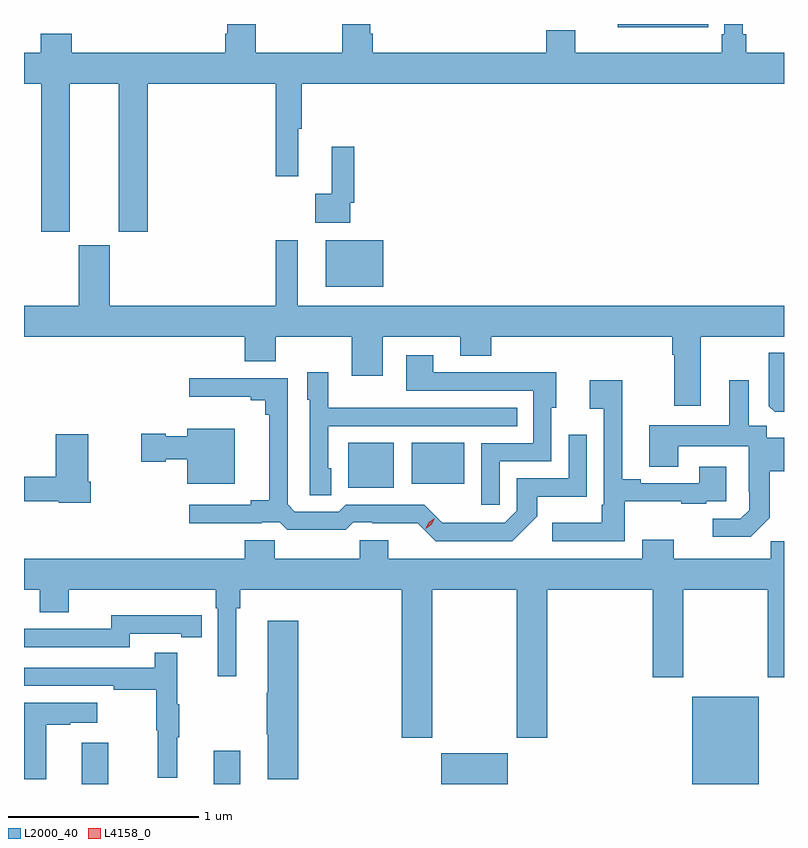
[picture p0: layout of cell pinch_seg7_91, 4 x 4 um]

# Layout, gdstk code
import gdstk
lib = gdstk.Library(unit=1e-6, precision=1e-09)
def R(c, l, rs):  # rectangles x0, y0, x1, y1
    for r in rs: c.add(gdstk.rectangle(r[:2], r[2:], *l))
def P(c, l, *ps):  # polygons
    for p in ps: c.add(gdstk.Polygon(p, *l))
L2000_40 = (2000, 40)
L4158_0 = (4158, 0)

pinch_seg7_91 = lib.new_cell('pinch_seg7_91')
R(pinch_seg7_91, L2000_40, [(892.295,1011.582,892.435,1011.799), (892.991,1011.582,893.131,1011.757), (894.188,1011.582,894.538,1011.745), (895.508,1011.582,895.858,1012.042), (893.699,1013.141,893.938,1013.377), (894.032,1013.162,894.31,1013.377), (893.579,1014.2,893.884,1014.445)])
P(pinch_seg7_91, L2000_40, [(895.484,1015.566),(895.592,1015.566),(895.592,1015.582),(895.116,1015.582),(895.116,1015.565),(895.484,1015.565)],
  [(892.234,1015.268),(892.49,1015.268),(892.49,1014.489),(892.643,1014.489),(892.643,1015.268),(893.317,1015.268),(893.317,1014.78),(893.435,1014.78),(893.435,1015.032),(893.453,1015.032),(893.453,1015.268),(895.992,1015.268),(895.992,1015.432),(895.793,1015.432),(895.793,1015.528),(895.774,1015.528),(895.774,1015.582),(895.677,1015.582),(895.677,1015.528),(895.664,1015.528),(895.664,1015.432),(894.892,1015.432),(894.892,1015.549),(894.74,1015.549),(894.74,1015.432),(893.828,1015.432),(893.828,1015.53),(893.815,1015.53),(893.815,1015.582),(893.668,1015.582),(893.668,1015.432),(893.211,1015.432),(893.211,1015.582),(893.063,1015.582),(893.063,1015.53),(893.051,1015.53),(893.051,1015.432),(892.244,1015.432),(892.244,1015.531),(892.079,1015.531),(892.079,1015.432),(891.992,1015.432),(891.992,1015.268),(892.082,1015.268),(892.082,1014.489),(892.234,1014.489)],
  [(893.709,1014.64),(893.729,1014.64),(893.729,1014.937),(893.612,1014.937),(893.612,1014.689),(893.526,1014.689),(893.526,1014.536),(893.709,1014.536)],
  [(895.555,1013.936),(895.992,1013.936),(895.992,1014.1),(893.434,1014.1),(893.434,1014.445),(893.317,1014.445),(893.317,1014.1),(892.444,1014.1),(892.444,1014.417),(892.28,1014.417),(892.28,1014.1),(891.992,1014.1),(891.992,1013.936),(893.153,1013.936),(893.153,1013.808),(893.317,1013.808),(893.317,1013.936),(893.717,1013.936),(893.717,1013.73),(893.881,1013.73),(893.881,1013.936),(894.287,1013.936),(894.287,1013.837),(894.451,1013.837),(894.451,1013.936),(895.403,1013.936),(895.403,1013.84),(895.415,1013.84),(895.415,1013.574),(895.555,1013.574)],
  [(895.992,1013.851),(895.911,1013.851),(895.911,1013.571),(895.943,1013.54),(895.992,1013.54)],
  [(894.495,1013.28),(894.768,1013.28),(894.768,1013.562),(894.793,1013.562),(894.793,1013.75),(894.575,1013.75),(894.575,1013.748),(894.145,1013.748),(894.145,1013.839),(894.005,1013.839),(894.005,1013.652),(894.672,1013.652),(894.672,1013.376),(894.399,1013.376),(894.399,1013.052),(894.495,1013.052)],
  [(893.608,1013.244),(893.592,1013.244),(893.592,1013.466),(894.587,1013.466),(894.587,1013.562),(893.909,1013.562),(893.909,1013.563),(893.592,1013.563),(893.592,1013.749),(893.483,1013.749),(893.483,1013.604),(893.496,1013.604),(893.496,1013.101),(893.608,1013.101)],
  [(894.693,1012.991),(894.693,1013.093),(894.954,1013.093),(894.954,1013.419),(894.858,1013.419),(894.858,1013.19),(894.585,1013.19),(894.585,1013.019),(894.522,1012.956),(894.298,1012.956),(894.298,1012.958),(894.194,1012.958),(894.099,1013.052),(893.685,1013.052),(893.649,1013.016),(893.418,1013.016),(893.379,1013.055),(893.379,1013.718),(892.863,1013.718),(892.863,1013.621),(893.186,1013.621),(893.186,1013.602),(893.263,1013.602),(893.263,1013.525),(893.282,1013.525),(893.282,1013.075),(893.186,1013.075),(893.186,1013.052),(892.863,1013.052),(892.863,1012.955),(893.243,1012.955),(893.243,1012.959),(893.337,1012.959),(893.377,1012.92),(893.685,1012.92),(893.724,1012.959),(893.824,1012.959),(893.824,1012.955),(894.065,1012.955),(894.159,1012.86),(894.562,1012.86)],
  [(895.153,1013.069),(895.451,1013.069),(895.451,1013.058),(895.583,1013.058),(895.583,1013.07),(895.687,1013.07),(895.687,1013.251),(895.547,1013.251),(895.547,1013.166),(895.237,1013.166),(895.237,1013.185),(895.141,1013.185),(895.141,1013.707),(894.969,1013.707),(894.969,1013.558),(895.044,1013.558),(895.044,1013.053),(895.032,1013.053),(895.032,1012.957),(894.771,1012.957),(894.771,1012.86),(895.153,1012.86)],
  [(895.917,1012.983),(895.917,1013.229),(895.992,1013.229),(895.992,1013.404),(895.902,1013.404),(895.902,1013.468),(895.807,1013.468),(895.807,1013.707),(895.703,1013.707),(895.703,1013.47),(895.283,1013.47),(895.283,1013.251),(895.435,1013.251),(895.435,1013.36),(895.806,1013.36),(895.806,1013.119),(895.808,1013.119),(895.808,1013.024),(895.761,1012.977),(895.617,1012.977),(895.617,1012.883),(895.817,1012.883)],
  [(893.101,1013.452),(892.85,1013.452),(892.85,1013.413),(892.737,1013.413),(892.737,1013.426),(892.608,1013.426),(892.608,1013.279),(892.737,1013.279),(892.737,1013.291),(892.85,1013.291),(892.85,1013.162),(893.101,1013.162)],
  [(892.343,1013.173),(892.33,1013.173),(892.33,1013.422),(892.16,1013.422),(892.16,1013.198),(891.992,1013.198),(891.992,1013.07),(892.176,1013.07),(892.176,1013.062),(892.343,1013.062)],
  [(894.141,1012.604),(894.586,1012.604),(894.586,1011.825),(894.746,1011.825),(894.746,1012.604),(895.301,1012.604),(895.301,1012.143),(895.461,1012.143),(895.461,1012.604),(895.906,1012.604),(895.906,1012.143),(895.992,1012.143),(895.992,1012.859),(895.921,1012.859),(895.921,1012.768),(895.411,1012.768),(895.411,1012.867),(895.247,1012.867),(895.247,1012.768),(893.908,1012.768),(893.908,1012.866),(893.758,1012.866),(893.758,1012.768),(893.313,1012.768),(893.313,1012.866),(893.153,1012.866),(893.153,1012.768),(891.992,1012.768),(891.992,1012.604),(892.076,1012.604),(892.076,1012.487),(892.228,1012.487),(892.228,1012.604),(893,1012.604),(893,1012.508),(893.013,1012.508),(893.013,1012.149),(893.11,1012.149),(893.11,1012.508),(893.129,1012.508),(893.129,1012.604),(893.981,1012.604),(893.981,1011.825),(894.141,1011.825)],
  [(892.548,1012.374),(892.82,1012.374),(892.82,1012.354),(892.928,1012.354),(892.928,1012.47),(892.82,1012.47),(892.82,1012.471),(892.452,1012.471),(892.452,1012.398),(891.992,1012.398),(891.992,1012.302),(892.548,1012.302)],
  [(893.435,1012.441),(893.276,1012.441),(893.276,1012.061),(893.269,1012.061),(893.269,1011.844),(893.276,1011.844),(893.276,1011.606),(893.435,1011.606)],
  [(892.799,1011.827),(892.81,1011.827),(892.81,1012.001),(892.799,1012.001),(892.799,1012.273),(892.681,1012.273),(892.681,1012.194),(891.992,1012.194),(891.992,1012.098),(892.465,1012.098),(892.465,1012.078),(892.689,1012.078),(892.689,1011.864),(892.696,1011.864),(892.696,1011.615),(892.799,1011.615)],
  [(892.108,1011.895),(892.235,1011.895),(892.235,1011.905),(892.378,1011.905),(892.378,1012.009),(891.992,1012.009),(891.992,1011.606),(892.108,1011.606)])
P(pinch_seg7_91, L4158_0, [(894.107,1012.926),(894.107,1012.926),(894.122,1012.96),(894.153,1012.982),(894.153,1012.982),(894.153,1012.981),(894.138,1012.948),(894.107,1012.926)])

lib.write_gds('pinch_seg7_91.gds')
